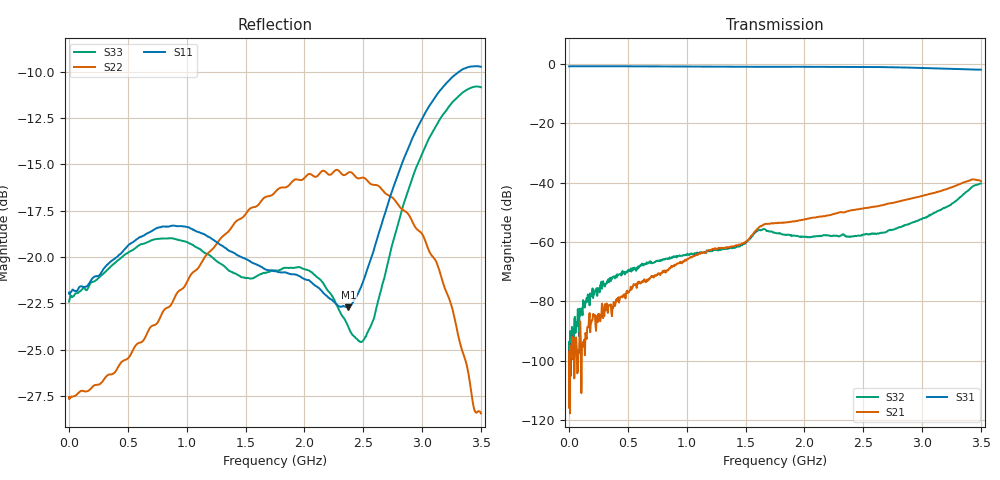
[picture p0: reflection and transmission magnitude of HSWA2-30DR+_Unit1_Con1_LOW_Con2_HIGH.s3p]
!Created: 04-04-2014 at 11:01:39
!MODEL: HSWA2-30DR+
!S/N: Unit 1
!RUN:QN1045128, D/C:1042
!All RF2 ON
!PORT EXTENSION HAS BEEN DONE
!PORT-1= PIN-8, PORT-2=PIN-3, PORT-3=PIN-13.
# MHZ S DB R 50
!Frequency  S11 dB  S11 DEG  S12 dB  S12 DEG  S13 dB  S13 DEG
!  S21 dB  S21 DEG  S22 dB  S22 DEG  S23 dB  S23 DEG
!  S31 dB  S31 DEG  S32 dB  S32 DEG  S33 dB  S33 DEG
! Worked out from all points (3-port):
!   708 points, 1 MHz to 3.5 GHz, reference 50 ohm
!   strongest paths, dB at 1 MHz, 850 MHz, 1.735 GHz, 2.62 GHz, 3.5 GHz:
!     S31: -0.8, -0.9, -1.0, -1.0, -1.9
!     S21: -103.3, -69.0, -53.8, -48.0, -39.5
!     S32: -96.1, -65.7, -56.9, -57.1, -40.3
!   lowest |S11| = -22.7 dB at 2.375 GHz (marker M1), VSWR 1.16, Z = 51.9 - j7.24 ohm
!   |S11| at or under -10 dB: start of sweep to 3.313 GHz
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1  -21.92 0.6  -106.79 75.3  -0.73 -0.1
   -103.32 -58.0  -27.55 -0.6  -104.05 161.0
   -0.81 -0.1  -96.06 -154.7  -22.40 1.0
145  -21.58 -20.1  -90.48 128.2  -0.71 -3.6
     -91.87 100.2  -27.24 -4.3  -78.86 95.9
     -0.74 -3.6  -80.38 94.3  -21.79 -19.4
415  -19.95 -49.1  -80.74 149.2  -0.76 -9.7
     -79.85 154.5  -25.96 -12.7  -71.06 95.9
     -0.77 -9.7  -71.37 95.1  -20.18 -45.3
920  -18.33 -69.8  -67.43 178.4  -0.86 -20.1
     -67.28 178.4  -21.92 -13.0  -64.77 104.3
     -0.87 -20.1  -64.72 102.8  -19.06 -63.5
1475  -20.03 -53.5  -60.67 -155.6  -0.93 -31.3
      -60.45 -155.2  -17.86 1.3  -61.12 131.7
      -0.93 -31.2  -60.83 131.7  -21.10 -40.6
1755  -20.77 -37.2  -53.65 -164.0  -0.95 -36.9
      -53.67 -164.1  -16.47 10.9  -56.95 110.1
      -0.95 -36.8  -57.00 110.2  -20.71 -20.8
2375  -22.70 -71.2  -49.56 -159.9  -0.97 -50.4
      -49.54 -160.4  -15.44 35.8  -58.33 129.1
      -0.96 -50.4  -58.23 129.4  -23.79 -41.1
2575  -19.92 -109.2  -48.24 -160.0  -1.01 -55.3
      -48.21 -160.0  -16.08 44.0  -57.13 144.5
      -1.01 -55.3  -57.12 144.3  -23.55 -93.9
2950  -13.14 -142.3  -44.99 -157.9  -1.29 -64.6
      -44.98 -157.9  -18.45 55.5  -53.12 169.9
      -1.29 -64.5  -53.00 170.1  -15.17 -143.5
3500  -9.73 -158.5  -39.48 156.8  -1.93 -74.9
      -39.49 156.3  -28.43 28.4  -40.38 140.6
      -1.92 -74.8  -40.31 140.8  -10.83 -161.1
